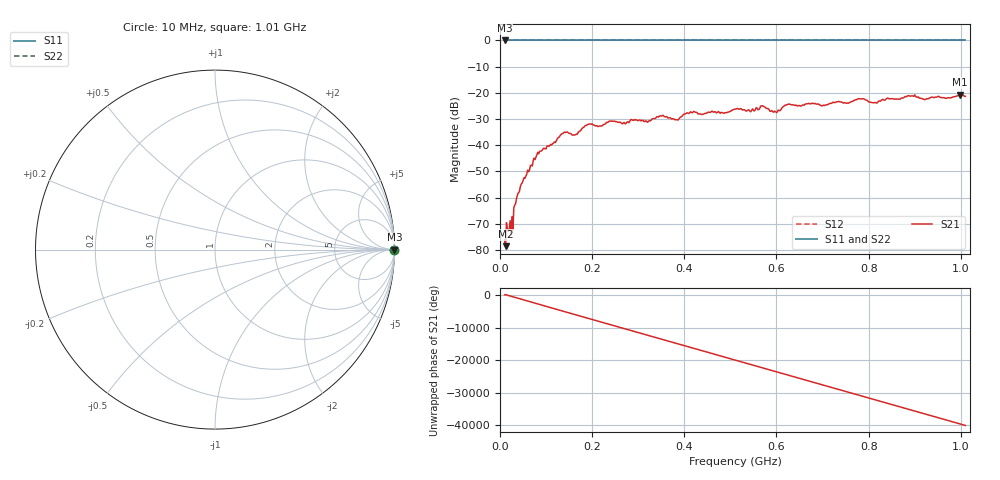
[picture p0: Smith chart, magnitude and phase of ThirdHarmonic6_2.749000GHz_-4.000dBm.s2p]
! 8/17/2025 6:51:55 AM
! C:\ANRITSUVNA\TEMP\TEMP.S2P
! CHANNEL.1
! TR.MEASUREMENT
! RAW.DATA
! RF.CORRECTION.OFF
! AVERAGING.OFF
! IF.BANDWIDTH: 5KHZ
! SWEEPTYPE:  FREQ.SWEEP(Linear)
! Reference Plane Port Info
! PORT:  PORT1  PORT2
! DISTANCE:  0  m  0  m
! TIME:  0  s  0  s
! PHASE.OFFSET:  0  deg.  0  deg.
! LOSS:  0  dB  0  dB
! REF.LOSS:  0  dB  0  dB
! REF.FREQ:  0  Hz  0  Hz
! Power Info
! POWER:  -20  dBm  -20  dBm
! EFF.POWER:  -20  dBm  -20  dBm
! SOURCE.ATTEN:  0  dB  0  dB
! TEST.ATTEN:  0  dB  0  dB
# GHZ S RI R 50.0
! FREQ.GHZ  S11RE  S11IM  S21RE  S21IM  S12RE  S12IM  S22RE  S22IM
!; PortSelection: Port_12
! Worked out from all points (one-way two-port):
!   501 points, 10 MHz to 1.01 GHz, reference 50 ohm
!   highest |S21| = -20.65 dB at 998 MHz (marker M1); lowest = -78.5 dB at 12 MHz (marker M2)
!   lowest |S11| = 0.0 dB at 10 MHz (marker M3)
!   |S11| at or under -10 dB: nowhere
!   |S22| runs from 0.0 to 0.0 dB; largest |S21 - S12| = 1.1
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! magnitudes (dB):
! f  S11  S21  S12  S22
! 10 MHz  0.0  -76.1  0.0  0.0
! 12 MHz  0.0  -78.5  0.0  0.0
! 18 MHz  0.0  -72.6  0.0  0.0
! 24 MHz  0.0  -73.8  0.0  0.0
! 34 MHz  0.0  -62.3  0.0  0.0
! 48 MHz  0.0  -54.4  0.0  0.0
! 78 MHz  0.0  -44.6  0.0  0.0
! 136 MHz  0.0  -35.6  0.0  0.0
! 164 MHz  0.0  -36.0  0.0  0.0
! 178 MHz  0.0  -33.6  0.0  0.0
! 194 MHz  0.0  -31.9  0.0  0.0
! 344 MHz  0.0  -29.2  0.0  0.0
! 384 MHz  0.0  -30.2  0.0  0.0
! 418 MHz  0.0  -27.6  0.0  0.0
! 510 MHz  0.0  -26.2  0.0  0.0
! 570 MHz  0.0  -24.9  0.0  0.0
! 598 MHz  0.0  -27.2  0.0  0.0
! 624 MHz  0.0  -24.4  0.0  0.0
! 678 MHz  0.0  -23.9  0.0  0.0
! 844 MHz  0.0  -22.3  0.0  0.0
! 998 MHz  0.0  -20.6  0.0  0.0
! 1.01 GHz  0.0  -21.4  0.0  0.0
